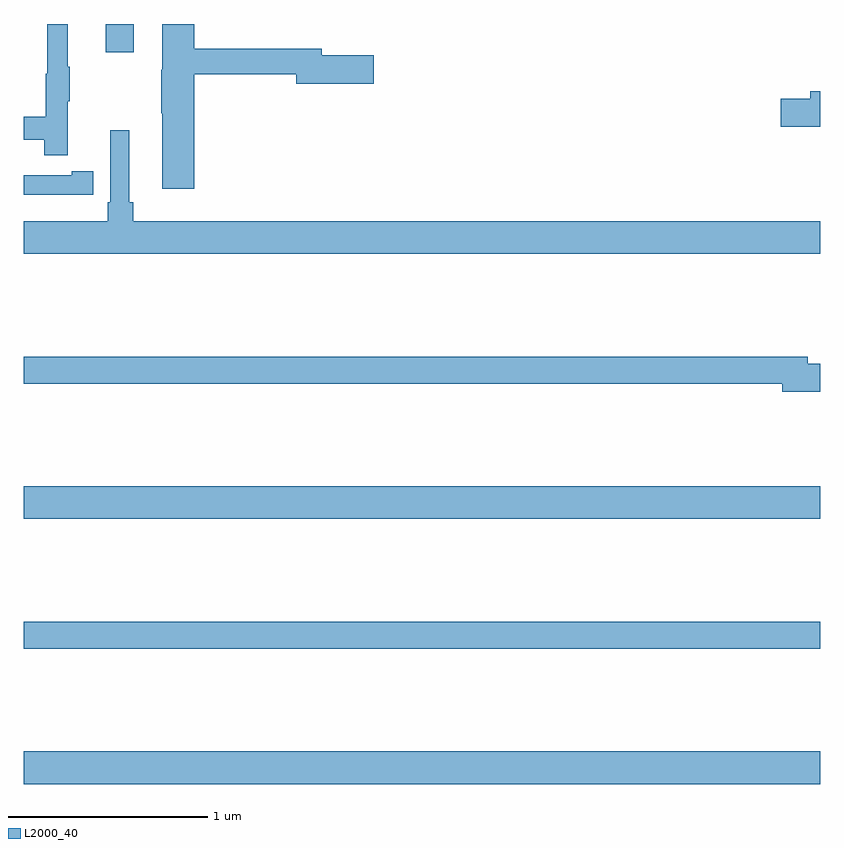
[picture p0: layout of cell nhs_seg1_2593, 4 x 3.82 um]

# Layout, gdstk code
import gdstk
lib = gdstk.Library(unit=1e-6, precision=1e-09)
def R(c, l, rs):  # rectangles x0, y0, x1, y1
    for r in rs: c.add(gdstk.rectangle(r[:2], r[2:], *l))
def P(c, l, *ps):  # polygons
    for p in ps: c.add(gdstk.Polygon(p, *l))
L2000_40 = (2000, 40)

nhs_seg1_2593 = lib.new_cell('nhs_seg1_2593')
R(nhs_seg1_2593, L2000_40, [(251,570.38,255,570.544), (251,571.06,255,571.196), (251,571.712,255,571.876), (251.411,574.056,251.551,574.199)])
P(nhs_seg1_2593, L2000_40, [(251.855,573.946),(252.368,573.946),(252.368,573.899),(252.757,573.899),(252.757,574.041),(252.496,574.041),(252.496,574.075),(251.855,574.075),(251.855,574.199),(251.696,574.199),(251.696,573.969),(251.689,573.969),(251.689,573.751),(251.696,573.751),(251.696,573.372),(251.855,573.372)],
  [(251.219,573.811),(251.23,573.811),(251.23,573.985),(251.219,573.985),(251.219,574.198),(251.116,574.198),(251.116,573.948),(251.109,573.948),(251.109,573.734),(251,573.734),(251,573.618),(251.101,573.618),(251.101,573.54),(251.219,573.54)],
  [(255,573.86),(254.951,573.86),(254.951,573.824),(254.802,573.824),(254.802,573.682),(255,573.682)],
  [(255,573.208),(251.549,573.208),(251.549,573.304),(251.53,573.304),(251.53,573.664),(251.433,573.664),(251.433,573.304),(251.42,573.304),(251.42,573.208),(251,573.208),(251,573.044),(255,573.044)],
  [(251.24,573.342),(251.348,573.342),(251.348,573.458),(251.24,573.458),(251.24,573.438),(251,573.438),(251,573.341),(251.24,573.341)],
  [(255,572.492),(254.938,572.492),(254.938,572.528),(251,572.528),(251,572.392),(254.81,572.392),(254.81,572.35),(255,572.35)])

lib.write_gds('nhs_seg1_2593.gds')
